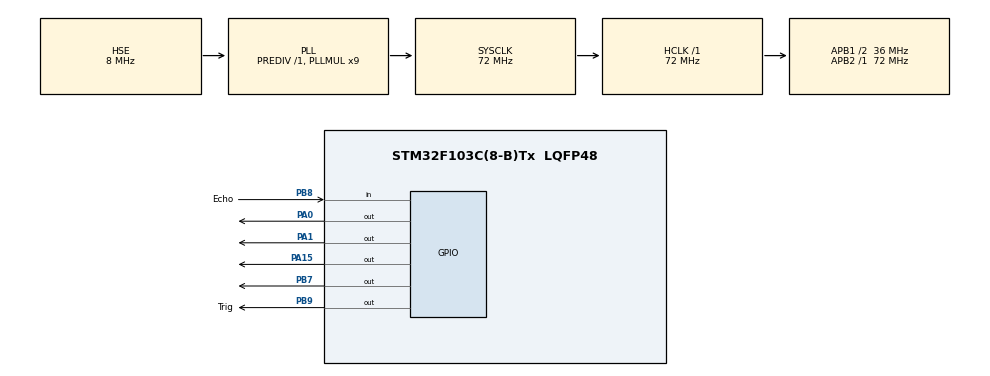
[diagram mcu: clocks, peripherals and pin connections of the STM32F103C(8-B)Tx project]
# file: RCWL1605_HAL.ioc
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Mcu.Family=STM32F1
Mcu.Name=STM32F103C(8-B)Tx
Mcu.Package=LQFP48
NVIC.PriorityGroup=NVIC_PRIORITYGROUP_4
NVIC.TIM4_IRQn=true\:15\:0\:false\:false\:true\:false\:true\:true
NVIC.TimeBase=TIM4_IRQn
NVIC.TimeBaseIP=TIM4
PA0-WKUP.GPIO_ModeDefaultOutputPP=GPIO_MODE_OUTPUT_OD
PA0-WKUP.GPIO_PuPd=GPIO_PULLUP
PA0-WKUP.GPIO_Speed=GPIO_SPEED_FREQ_HIGH
PA0-WKUP.PinState=GPIO_PIN_SET
PA0-WKUP.Signal=GPIO_Output
PA1.GPIO_ModeDefaultOutputPP=GPIO_MODE_OUTPUT_OD
PA1.GPIO_PuPd=GPIO_PULLUP
PA1.GPIO_Speed=GPIO_SPEED_FREQ_HIGH
PA1.PinState=GPIO_PIN_SET
PA1.Signal=GPIO_Output
PA13.Mode=Serial_Wire
PA13.Signal=SYS_JTMS-SWDIO
PA14.Mode=Serial_Wire
PA14.Signal=SYS_JTCK-SWCLK
PA15.GPIO_ModeDefaultOutputPP=GPIO_MODE_OUTPUT_OD
PA15.GPIO_PuPd=GPIO_PULLUP
PA15.GPIO_Speed=GPIO_SPEED_FREQ_HIGH
PA15.PinState=GPIO_PIN_SET
PA15.Signal=GPIO_Output
PB7.GPIO_ModeDefaultOutputPP=GPIO_MODE_OUTPUT_OD
PB7.GPIO_PuPd=GPIO_PULLUP
PB7.GPIO_Speed=GPIO_SPEED_FREQ_HIGH
PB7.PinState=GPIO_PIN_SET
PB7.Signal=GPIO_Output
PB8.GPIO_Label=Echo
PB8.GPIO_PuPd=GPIO_PULLDOWN
PB8.Signal=GPIO_Input
PB9.GPIO_Label=Trig
PB9.GPIO_Speed=GPIO_SPEED_FREQ_HIGH
PB9.Signal=GPIO_Output
PD0-OSC_IN.Mode=HSE-External-Oscillator
PD0-OSC_IN.Signal=RCC_OSC_IN
PD1-OSC_OUT.Mode=HSE-External-Oscillator
PD1-OSC_OUT.Signal=RCC_OSC_OUT
ProjectManager.HeapSize=0x200
ProjectManager.StackSize=0x400
ProjectManager.TargetToolchain=MDK-ARM V5
RCC.AHBFreq_Value=72000000
RCC.APB1CLKDivider=RCC_HCLK_DIV2
RCC.APB1Freq_Value=36000000
RCC.APB1TimFreq_Value=72000000
RCC.APB2Freq_Value=72000000
RCC.APB2TimFreq_Value=72000000
RCC.HCLKFreq_Value=72000000
RCC.PLLMUL=RCC_PLL_MUL9
RCC.PLLSourceVirtual=RCC_PLLSOURCE_HSE
RCC.SYSCLKFreq_VALUE=72000000
RCC.SYSCLKSource=RCC_SYSCLKSOURCE_PLLCLK
RCC.USBFreq_Value=72000000
TIM1.Prescaler=63
VP_SYS_VS_tim4.Mode=TIM4
VP_TIM1_VS_ClockSourceINT.Mode=Internal
board=custom

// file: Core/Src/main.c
/* USER CODE BEGIN Header */
/**
 ******************************************************************************
 * @file           : main.c
 * @brief          : Main program body
 ******************************************************************************
 * @attention
 *
 * Copyright (c) 2023 STMicroelectronics.
 * All rights reserved.
 *
 * This software is licensed under terms that can be found in the LICENSE file
 * in the root directory of this software component.
 * If no LICENSE file comes with this software, it is provided AS-IS.
 *
 ******************************************************************************
 */
/* USER CODE END Header */
#include "main.h"
#include "tim.h"
#include "gpio.h"

/* USER CODE BEGIN Includes */
#include <stdio.h>
#include "oled_driver.h"
/* USER CODE END Includes */

/* USER CODE BEGIN PV */
uint32_t counter = 0;
char mychar[256];
/* USER CODE END PV */

void SystemClock_Config(void);

int main(void)
{
  /* USER CODE BEGIN 1 */
  float fd = 0.0;

  char fchar[32];
  /* USER CODE END 1 */

  /* MCU Configuration--------------------------------------------------------*/

  /* Reset of all peripherals, Initializes the Flash interface and the Systick. */
  HAL_Init();

  /* Configure the system clock */
  SystemClock_Config();

  /* Initialize all configured peripherals */
  MX_GPIO_Init();
  MX_TIM1_Init();
  /* USER CODE BEGIN 2 */
  PY_usDelayTest();
  PY_usDelayOptimize();

  TX_L;

  OLED_Init();

  OLED_Clear();
  OLED_ShowString(0, 0, (uint8_t*)"Ultrosound", 12);
  OLED_ShowString(0, 1, (uint8_t*)"Distance", 12);
  OLED_ShowString(0, 2, (uint8_t*)"Test", 12);
  OLED_ShowString(0, 3, (uint8_t*)"Module", 12);

  HAL_TIM_Base_Start(&htim1);
  /* USER CODE END 2 */

  /* Infinite loop */
  /* USER CODE BEGIN WHILE */
  while (1)
  {
    // Sending trigger signal
    TX_H;
    PY_Delay_us_t(12 - GPIO_EXEC_DELAY_us);
    TX_L;

    while (RX_IN == 0)
      ;                              // Waiting for rising edge
    __HAL_TIM_SetCounter(&htim1, 0); // Set us counter to 0
    while (RX_IN != 0)
      ;                                     // Waiting for fall edge
    counter = __HAL_TIM_GetCounter(&htim1); // Get transmission delay in us

    OLED_Clear();
    OLED_ShowString(0, 0, (uint8_t*)"Distance:", 12);
    sprintf(mychar, "%d us", counter);
    OLED_ShowString(0, 1, (uint8_t*)mychar, 12);

    fd = counter * 342.62 / 2000; // 20 degree Celsius sound speed
    py_f2s4printf(fchar, fd, 3);
    sprintf(mychar, "%s mm", fchar);
    OLED_ShowString(0, 2, (uint8_t*)mychar, 12);

    PY_Delay_us_t(500000);
    /* USER CODE END WHILE */

  }
}

void SystemClock_Config(void)
{
  RCC_OscInitTypeDef RCC_OscInitStruct = {0};
  RCC_ClkInitTypeDef RCC_ClkInitStruct = {0};

  /** Initializes the RCC Oscillators according to the specified parameters
  * in the RCC_OscInitTypeDef structure.
  */
  RCC_OscInitStruct.OscillatorType = RCC_OSCILLATORTYPE_HSE;
  RCC_OscInitStruct.HSEState = RCC_HSE_ON;
  RCC_OscInitStruct.HSEPredivValue = RCC_HSE_PREDIV_DIV1;
  RCC_OscInitStruct.HSIState = RCC_HSI_ON;
  RCC_OscInitStruct.PLL.PLLState = RCC_PLL_ON;
  RCC_OscInitStruct.PLL.PLLSource = RCC_PLLSOURCE_HSE;
  RCC_OscInitStruct.PLL.PLLMUL = RCC_PLL_MUL9;
  if (HAL_RCC_OscConfig(&RCC_OscInitStruct) != HAL_OK)
  {
    Error_Handler();
  }

  /** Initializes the CPU, AHB and APB buses clocks
  */
  RCC_ClkInitStruct.ClockType = RCC_CLOCKTYPE_HCLK|RCC_CLOCKTYPE_SYSCLK
                              |RCC_CLOCKTYPE_PCLK1|RCC_CLOCKTYPE_PCLK2;
  RCC_ClkInitStruct.SYSCLKSource = RCC_SYSCLKSOURCE_PLLCLK;
  RCC_ClkInitStruct.AHBCLKDivider = RCC_SYSCLK_DIV1;
  RCC_ClkInitStruct.APB1CLKDivider = RCC_HCLK_DIV2;
  RCC_ClkInitStruct.APB2CLKDivider = RCC_HCLK_DIV1;

  if (HAL_RCC_ClockConfig(&RCC_ClkInitStruct, FLASH_LATENCY_2) != HAL_OK)
  {
    Error_Handler();
  }
}

void HAL_TIM_PeriodElapsedCallback(TIM_HandleTypeDef *htim)
{
  if (htim->Instance == TIM4) {
    HAL_IncTick();
  }
}

void Error_Handler(void)
{
  __disable_irq();
  while (1)
  {
  }
}
